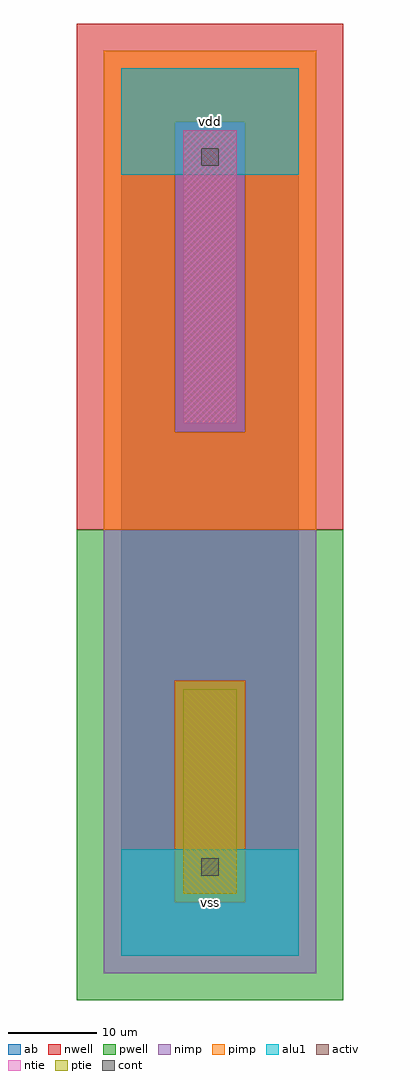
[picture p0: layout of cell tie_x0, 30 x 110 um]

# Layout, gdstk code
import gdstk
lib = gdstk.Library(unit=1e-6, precision=1e-09)
def R(c, l, rs):  # rectangles x0, y0, x1, y1
    for r in rs: c.add(gdstk.rectangle(r[:2], r[2:], *l))
ntie = (5, 0)
ptie = (6, 0)
cont = (25, 0)
pwell = (41, 0)
nwell = (42, 0)
activ = (43, 0)
pimp = (44, 0)
nimp = (45, 0)
alu1 = (49, 0)
ab = (63, 0)

tie_x0 = lib.new_cell('tie_x0')
R(tie_x0, ntie, [(7,60,13,93)])
R(tie_x0, ptie, [(7,7,13,30)])
R(tie_x0, cont, [(9,9,11,11), (9,89,11,91)])
R(tie_x0, pwell, [(-5,-5,25,48)])
R(tie_x0, nwell, [(-5,48,25,105)])
R(tie_x0, activ, [(7,7,13,30), (7,60,13,93)])
R(tie_x0, pimp, [(6,6,14,31), (-2,48,22,59), (-2,59,6,94), (14,59,22,94), (-2,94,22,102)])
R(tie_x0, nimp, [(-2,-2,22,6), (-2,6,6,31), (14,6,22,31), (-2,31,22,48), (6,59,14,94)])
R(tie_x0, alu1, [(0,0,20,12), (0,88,20,100)])
R(tie_x0, ab, [(0,0,20,100)])
tie_x0.add(gdstk.Label('vss', (10,6), layer=49, texttype=0))
tie_x0.add(gdstk.Label('vdd', (10,94), layer=49, texttype=0))

lib.write_gds('tie_x0.gds')
